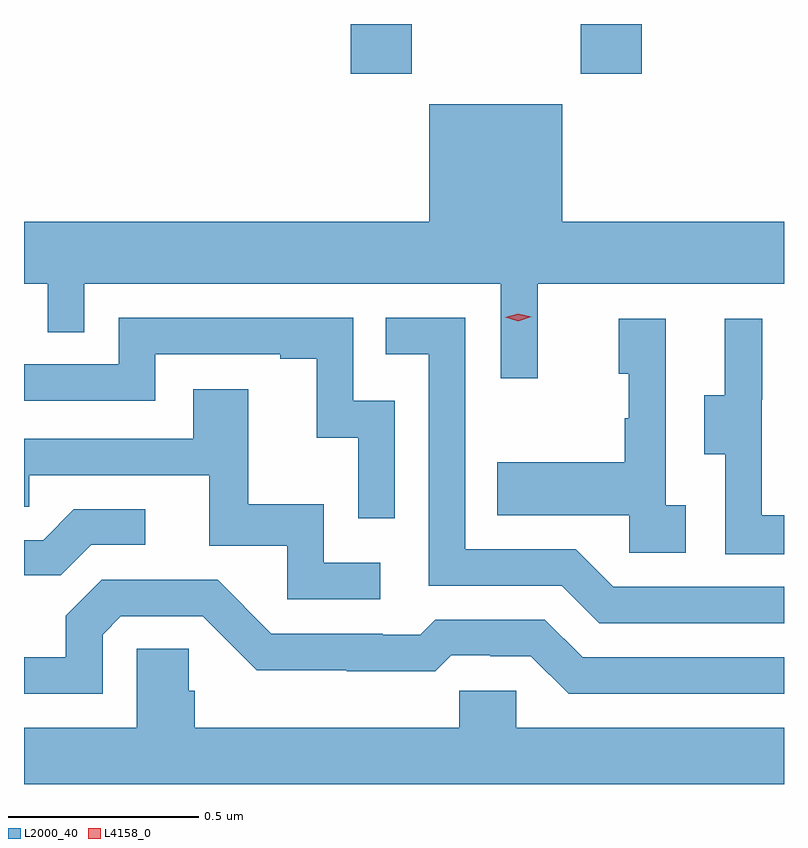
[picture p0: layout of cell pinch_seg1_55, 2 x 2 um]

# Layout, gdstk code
import gdstk
lib = gdstk.Library(unit=1e-6, precision=1e-09)
def R(c, l, rs):  # rectangles x0, y0, x1, y1
    for r in rs: c.add(gdstk.rectangle(r[:2], r[2:], *l))
def P(c, l, *ps):  # polygons
    for p in ps: c.add(gdstk.Polygon(p, *l))
L2000_40 = (2000, 40)
L4158_0 = (4158, 0)

pinch_seg1_55 = lib.new_cell('pinch_seg1_55')
R(pinch_seg1_55, L2000_40, [(1072.025,566.937,1072.185,567.068), (1072.63,566.937,1072.79,567.068)])
P(pinch_seg1_55, L2000_40, [(1072.517,566.384),(1073.165,566.384),(1073.165,566.548),(1072.582,566.548),(1072.582,566.857),(1072.232,566.857),(1072.232,566.548),(1071.165,566.548),(1071.165,566.384),(1071.228,566.384),(1071.228,566.257),(1071.324,566.257),(1071.324,566.384),(1072.419,566.384),(1072.419,566.136),(1072.517,566.136)],
  [(1073.165,565.587),(1072.716,565.587),(1072.617,565.686),(1072.326,565.686),(1072.326,566.295),(1072.117,566.295),(1072.117,566.199),(1072.23,566.199),(1072.23,565.59),(1072.58,565.59),(1072.679,565.491),(1073.165,565.491)],
  [(1072.14,566.076),(1072.032,566.076),(1072.032,566.295),(1071.414,566.295),(1071.414,566.172),(1071.165,566.172),(1071.165,566.076),(1071.51,566.076),(1071.51,566.199),(1071.839,566.199),(1071.839,566.187),(1071.935,566.187),(1071.935,565.979),(1072.044,565.979),(1072.044,565.767),(1072.14,565.767)],
  [(1072.906,565.802),(1072.854,565.802),(1072.854,566.293),(1072.73,566.293),(1072.73,566.148),(1072.756,566.148),(1072.756,566.03),(1072.746,566.03),(1072.746,565.915),(1072.411,565.915),(1072.411,565.775),(1072.758,565.775),(1072.758,565.677),(1072.906,565.677)],
  [(1073.165,565.775),(1073.106,565.775),(1073.106,566.079),(1073.108,566.079),(1073.108,566.293),(1073.009,566.293),(1073.009,566.091),(1072.955,566.091),(1072.955,565.936),(1073.01,565.936),(1073.01,565.672),(1073.165,565.672)],
  [(1072.102,565.65),(1071.954,565.65),(1071.954,565.804),(1071.755,565.804),(1071.755,566.107),(1071.611,566.107),(1071.611,565.977),(1071.165,565.977),(1071.165,565.797),(1071.179,565.797),(1071.179,565.881),(1071.653,565.881),(1071.653,565.695),(1071.858,565.695),(1071.858,565.554),(1072.102,565.554)],
  [(1071.342,565.698),(1071.484,565.698),(1071.484,565.791),(1071.296,565.791),(1071.215,565.71),(1071.165,565.71),(1071.165,565.618),(1071.262,565.618)],
  [(1071.372,565.461),(1071.42,565.509),(1071.636,565.509),(1071.778,565.367),(1072.014,565.367),(1072.014,565.365),(1072.247,565.365),(1072.289,565.407),(1072.392,565.407),(1072.392,565.404),(1072.499,565.404),(1072.598,565.305),(1073.165,565.305),(1073.165,565.401),(1072.635,565.401),(1072.536,565.5),(1072.247,565.5),(1072.208,565.461),(1072.109,565.461),(1072.109,565.464),(1071.816,565.464),(1071.675,565.605),(1071.369,565.605),(1071.275,565.511),(1071.275,565.401),(1071.165,565.401),(1071.165,565.305),(1071.372,565.305)],
  [(1073.165,565.216),(1072.461,565.216),(1072.461,565.314),(1072.311,565.314),(1072.311,565.216),(1071.614,565.216),(1071.614,565.314),(1071.599,565.314),(1071.599,565.424),(1071.462,565.424),(1071.462,565.216),(1071.165,565.216),(1071.165,565.068),(1073.165,565.068)])
P(pinch_seg1_55, L4158_0, [(1072.466,566.286),(1072.431,566.296),(1072.431,566.296),(1072.431,566.296),(1072.465,566.306),(1072.5,566.297),(1072.501,566.297),(1072.5,566.297)])

lib.write_gds('pinch_seg1_55.gds')
